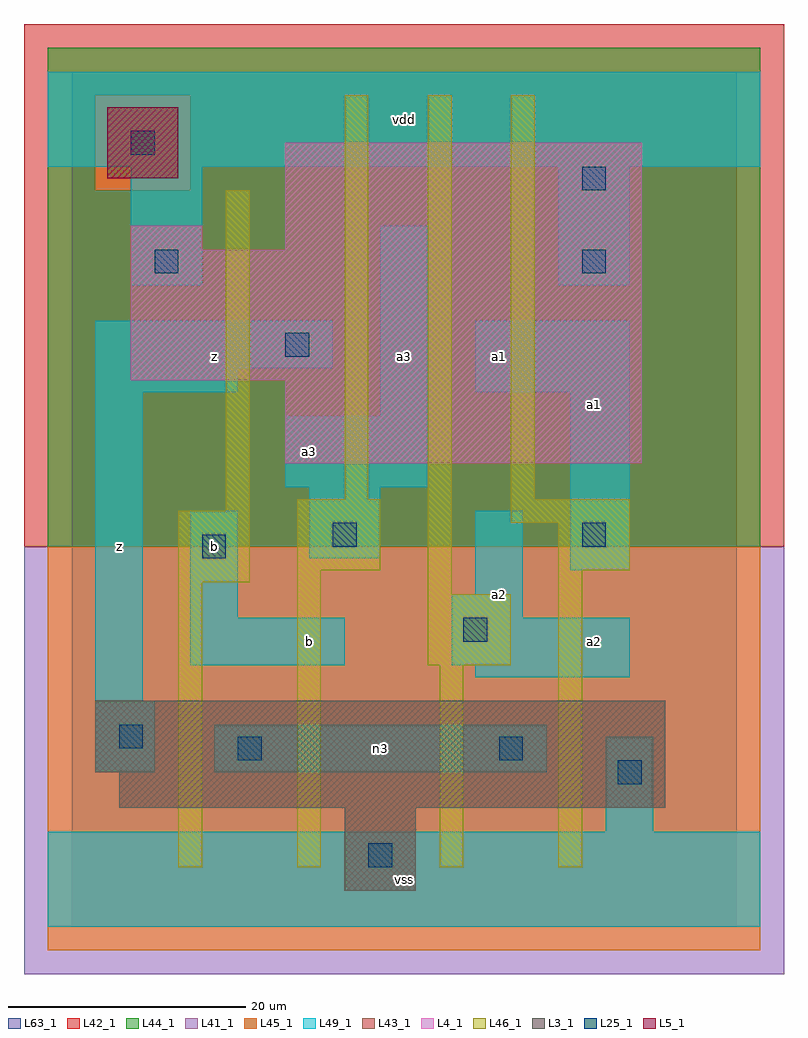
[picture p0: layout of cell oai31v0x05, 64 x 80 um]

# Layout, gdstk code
import gdstk
lib = gdstk.Library(unit=1e-6, precision=1e-09)
def R(c, l, rs):  # rectangles x0, y0, x1, y1
    for r in rs: c.add(gdstk.rectangle(r[:2], r[2:], *l))
L3_1 = (3, 1)
L4_1 = (4, 1)
L5_1 = (5, 1)
L25_1 = (25, 1)
L41_1 = (41, 1)
L42_1 = (42, 1)
L43_1 = (43, 1)
L44_1 = (44, 1)
L45_1 = (45, 1)
L46_1 = (46, 1)
L49_1 = (49, 1)
L63_1 = (63, 1)

oai31v0x05 = lib.new_cell('oai31v0x05')
R(oai31v0x05, L3_1, [(23,3,29,10), (4,10,50,13), (2,13,50,19)])
R(oai31v0x05, L4_1, [(18,39,48,46), (5,46,48,57), (5,57,11,59), (18,57,48,66)])
R(oai31v0x05, L5_1, [(3,63,9,69)])
R(oai31v0x05, L25_1, [(25,5,27,7), (46,12,48,14), (14,14,16,16), (36,14,38,16), (4,15,6,17), (33,24,35,26), (11,31,13,33), (22,32,24,34), (43,32,45,34), (18,48,20,50), (7,55,9,57), (43,55,45,57), (43,62,45,64), (5,65,7,67)])
R(oai31v0x05, L41_1, [(-4,-4,60,32)])
R(oai31v0x05, L42_1, [(-4,32,60,76)])
R(oai31v0x05, L43_1, [(23,3,29,10), (4,10,50,13), (2,13,50,19), (18,39,48,46), (5,46,48,57), (5,57,11,59), (18,57,48,66), (3,63,9,69)])
R(oai31v0x05, L44_1, [(-2,32,58,62), (-2,62,2,70), (10,62,58,70), (-2,70,58,74)])
R(oai31v0x05, L45_1, [(-2,-2,58,32), (2,62,10,70)])
R(oai31v0x05, L46_1, [(9,5,11,29), (19,5,21,30), (31,5,33,22), (41,5,43,30), (30,22,37,28), (30,28,32,70), (9,29,15,35), (19,30,26,36), (41,30,47,34), (37,34,47,36), (13,35,15,62), (23,36,25,70), (37,36,39,70)])
R(oai31v0x05, L49_1, [(-2,0,58,8), (45,8,49,16), (2,13,7,19), (12,13,40,17), (2,19,6,45), (34,21,47,22), (10,22,23,26), (32,22,47,26), (10,26,14,35), (32,26,38,28), (34,28,38,35), (42,30,47,45), (20,31,26,37), (18,37,30,43), (26,43,30,59), (2,45,14,47), (34,45,47,51), (2,47,22,51), (5,54,11,64), (41,54,47,64), (-2,64,58,72)])
R(oai31v0x05, L63_1, [(0,0,56,72)])
oai31v0x05.add(gdstk.Label('z', (4,32), layer=49, texttype=1))
oai31v0x05.add(gdstk.Label('b', (12,32), layer=49, texttype=1))
oai31v0x05.add(gdstk.Label('b', (20,24), layer=49, texttype=1))
oai31v0x05.add(gdstk.Label('a3', (20,40), layer=49, texttype=1))
oai31v0x05.add(gdstk.Label('z', (12,48), layer=49, texttype=1))
oai31v0x05.add(gdstk.Label('vss', (28,4), layer=49, texttype=1))
oai31v0x05.add(gdstk.Label('n3', (26,15), layer=49, texttype=1))
oai31v0x05.add(gdstk.Label('a2', (36,28), layer=49, texttype=1))
oai31v0x05.add(gdstk.Label('a3', (28,48), layer=49, texttype=1))
oai31v0x05.add(gdstk.Label('a1', (36,48), layer=49, texttype=1))
oai31v0x05.add(gdstk.Label('vdd', (28,68), layer=49, texttype=1))
oai31v0x05.add(gdstk.Label('a2', (44,24), layer=49, texttype=1))
oai31v0x05.add(gdstk.Label('a1', (44,44), layer=49, texttype=1))

lib.write_gds('oai31v0x05.gds')
